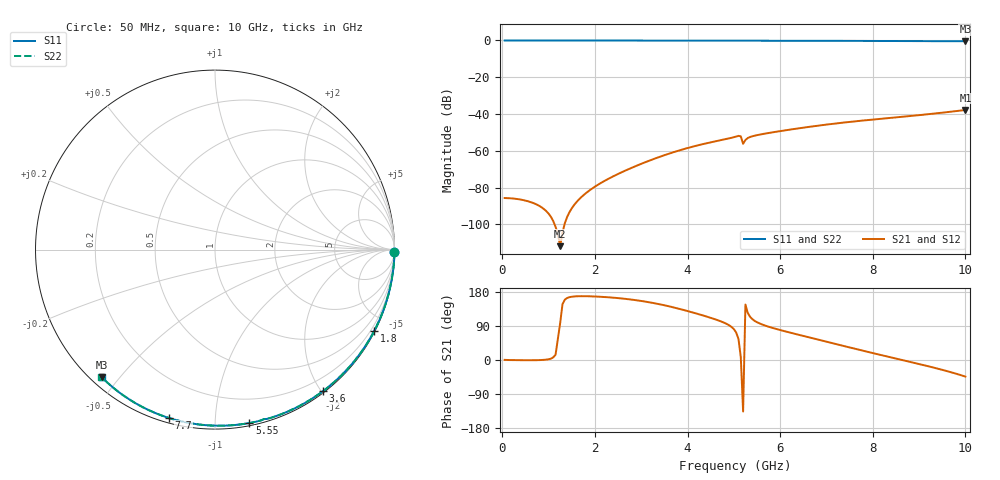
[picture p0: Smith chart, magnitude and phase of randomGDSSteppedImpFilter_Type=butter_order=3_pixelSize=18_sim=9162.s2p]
! freq	dB(S11)	phase(S11)	dB(S12)	phase(S12)
!  dB(S21)	phase(S21)	dB(S22)	phase(S22)
!S-par simulation data
#  GHz  S  DB  R 50
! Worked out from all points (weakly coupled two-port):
!   200 points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, 50 MHz to 10 GHz, reference 50 ohm
!   highest |S21| = -37.81 dB at 10 GHz (marker M1); lowest = -111.8 dB at 1.25 GHz (marker M2)
!   lowest |S11| = -0.4 dB at 10 GHz (marker M3), VSWR 39.58, Z = 1.52 - j22.4 ohm
!   |S11| at or under -10 dB: nowhere
!   |S22| runs from -0.4 to 0.0 dB; largest |S21 - S12| = 0
!   S11 on the Smith chart (normalised r, x): 50 MHz: open; 1.8 GHz: 0.04, -4.17; 3.6 GHz: 0.02, -2.01; 5.55 GHz: 0.02, -1.22; 7.7 GHz: 0.02, -0.76; 10 GHz: 0.03, -0.45
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0.05  -0.00 -0.8  -85.66 0.3  -85.66 0.3  -0.00 -0.8
1.25  -0.02 -18.9  -111.83 97.5  -111.83 97.5  -0.02 -18.9
1.75  -0.03 -26.3  -84.17 168.4  -84.17 168.4  -0.03 -26.3
1.8  -0.03 -27.0  -83.11 168.4  -83.11 168.4  -0.03 -27.0
1.95  -0.04 -29.2  -80.32 167.9  -80.32 167.9  -0.04 -29.2
2  -0.04 -29.9  -79.48 167.6  -79.48 167.6  -0.04 -29.9
2.25  -0.04 -33.6  -75.76 165.8  -75.76 165.8  -0.04 -33.6
2.55  -0.05 -37.9  -71.97 162.7  -71.97 162.7  -0.05 -37.9
3.4  -0.07 -50.0  -63.25 147.0  -63.25 147.0  -0.07 -50.0
3.6  -0.07 -52.8  -61.53 141.7  -61.53 141.7  -0.07 -52.8
4.15  -0.08 -60.3  -57.48 124.1  -57.48 124.1  -0.08 -60.4
5.05  -0.11 -72.4  -52.25 72.6  -52.25 72.6  -0.11 -72.5
5.1  -0.12 -73.1  -51.86 55.6  -51.86 55.6  -0.12 -73.2
5.15  -0.15 -73.8  -52.14 7.9  -52.14 7.9  -0.15 -73.8
5.2  -0.14 -74.2  -56.16 -136.0  -56.16 -136.0  -0.14 -74.2
5.25  -0.13 -74.9  -54.12 146.4  -54.12 146.4  -0.13 -74.9
5.3  -0.12 -75.5  -53.05 124.4  -53.05 124.4  -0.12 -75.6
5.55  -0.13 -78.8  -51.22 96.8  -51.22 96.8  -0.13 -78.9
6.7  -0.18 -93.2  -46.72 57.4  -46.72 57.4  -0.18 -93.3
7.7  -0.24 -105.3  -43.76 27.1  -43.76 27.1  -0.24 -105.3
8.35  -0.29 -112.9  -42.18 8.1  -42.18 8.1  -0.29 -112.9
10  -0.44 -131.6  -37.81 -43.8  -37.81 -43.8  -0.44 -131.7
